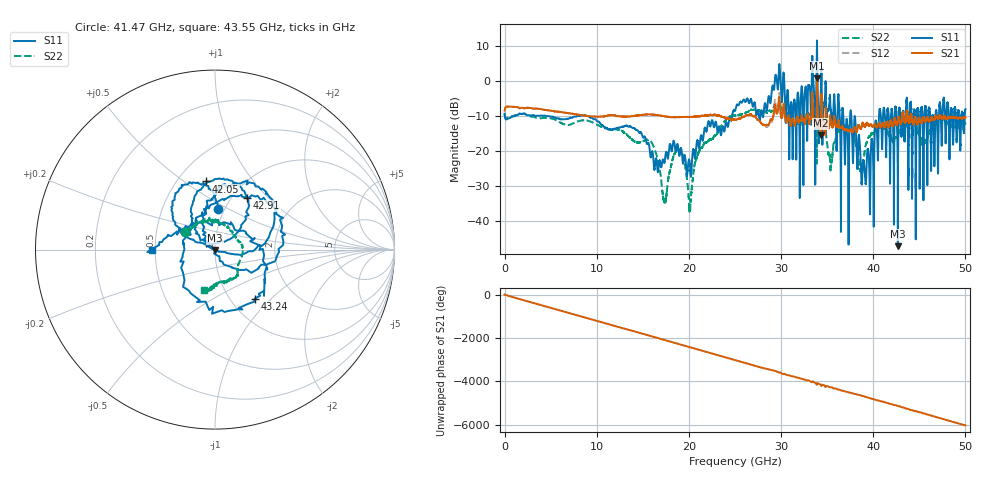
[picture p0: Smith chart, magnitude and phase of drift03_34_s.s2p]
!Created with skrf (http://scikit-rf.org).
# Hz S RI R 50.0
!freq ReS11 ImS11 ReS21 ImS21 ReS12 ImS12 ReS22 ImS22
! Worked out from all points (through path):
!   10001 points, 300 kHz to 50 GHz, reference 50 ohm
!   highest |S21| = 0.74 dB at 33.9 GHz (marker M1); lowest = -15.6 dB at 34.32 GHz (marker M2)
!   group delay of S21, straight-line fit = 335 ps
!   lowest |S11| = -47.2 dB at 42.67 GHz (marker M3), VSWR 1.01, Z = 50 - j0.434 ohm
!   |S11| at or under -10 dB: 4.47 GHz to 7.93 GHz (3.46 GHz wide, 55.8 % of centre); 9.017 GHz to 24.7 GHz (15.68 GHz wide, 93 % of centre); 37.62 GHz to 40.62 GHz (3.004 GHz wide, 7.68 % of centre) (the widest 3 of 59)
!   |S22| runs from -37.4 to -5.9 dB; largest |S21 - S12| = 0.11
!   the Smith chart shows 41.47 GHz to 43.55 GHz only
!   S11 on the Smith chart (normalised r, x): 41.47 GHz: 0.93, +0.44; 42.05 GHz: 0.69, +0.61; 42.91 GHz: 1.17, +0.76; 43.24 GHz: 1.29, -0.80; 43.55 GHz: 0.48, -0.00
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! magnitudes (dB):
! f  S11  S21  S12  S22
! 300 kHz  -9.4  -8.5  -8.5  -9.4
! 8.335 GHz  -9.9  -9.8  -9.8  -11.3
! 16.67 GHz  -25.5  -9.8  -9.8  -23.3
! 17.38 GHz  -22.9  -10.1  -10.1  -34.6
! 19.07 GHz  -19.8  -10.3  -10.3  -20.0
! 20.12 GHz  -24.4  -10.3  -10.3  -36.0
! 21.18 GHz  -18.0  -10.1  -10.1  -19.7
! 25 GHz  -8.5  -11.1  -11.1  -9.8
! 33.34 GHz  0.4  -7.5  -7.6  -9.5
! 33.9 GHz  11.6  0.7  0.3  -23.7
! 34.32 GHz  -2.9  -15.6  -15.0  -11.3
! 35.33 GHz  -5.6  -10.3  -9.8  -24.0
! 37 GHz  -16.6  -13.8  -14.0  -13.4
! 38.97 GHz  -23.4  -12.6  -12.6  -22.9
! 41.47 GHz  -12.9  -11.8  -11.8  -14.3
! 41.67 GHz  -9.6  -13.3  -13.2  -14.8
! 42.05 GHz  -8.3  -12.7  -12.7  -16.7
! 42.67 GHz  -47.2  -11.4  -11.2  -16.1
! 42.91 GHz  -9.4  -11.9  -12.0  -14.3
! 43.24 GHz  -9.1  -9.5  -9.5  -14.2
! 43.55 GHz  -9.1  -11.2  -11.2  -12.7
! 50 GHz  -8.0  -10.5  -10.6  -12.2
